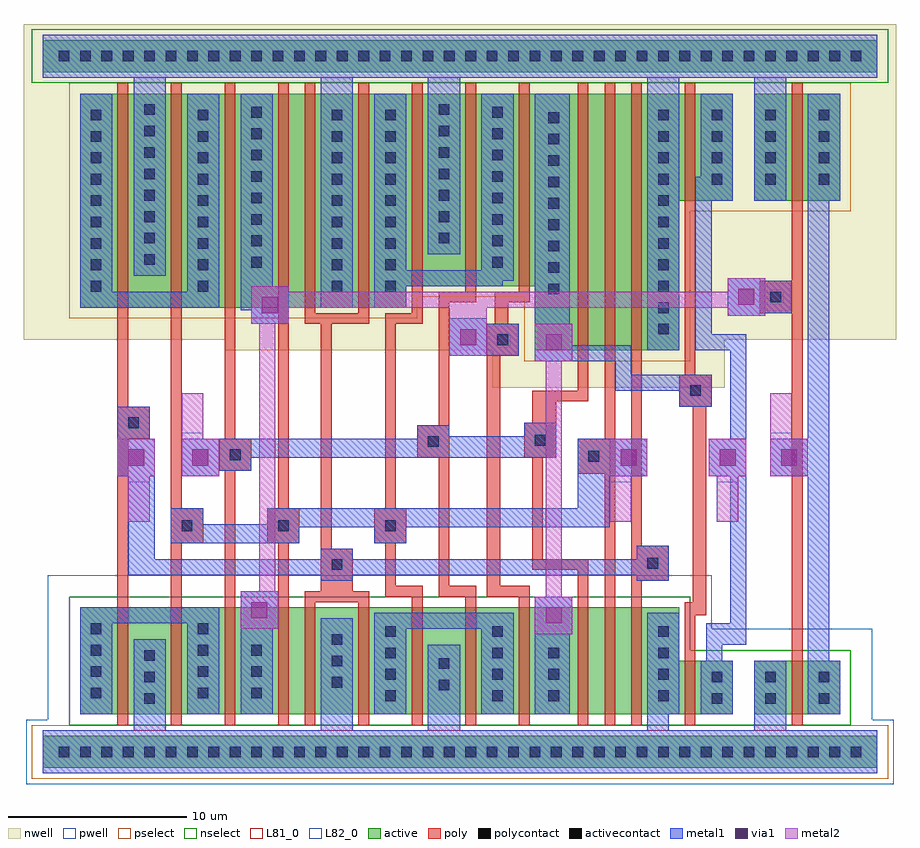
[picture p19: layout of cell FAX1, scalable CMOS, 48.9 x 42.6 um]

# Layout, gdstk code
import gdstk
lib = gdstk.Library(unit=1e-6, precision=1e-09)
def R(c, l, rs):  # rectangles x0, y0, x1, y1
    for r in rs: c.add(gdstk.rectangle(r[:2], r[2:], *l))
def A(c, l, x, y, w, h, nx, ny, dx, dy):  # array of equal rectangles
    R(c, l, [(x+i*dx, y+j*dy, x+i*dx+w, y+j*dy+h) for i in range(nx) for j in range(ny)])
pwell = (41, 0)
nwell = (42, 0)
active = (43, 0)
pselect = (44, 0)
nselect = (45, 0)
poly = (46, 0)
polycontact = (47, 0)
activecontact = (48, 0)
metal1 = (49, 0)
via1 = (50, 0)
metal2 = (51, 0)
L81_0 = (81, 0)
L82_0 = (82, 0)

fax1 = lib.new_cell('FAX1')
R(fax1, pwell, [(-1.8,-1.8,46.8,1.8), (-0.6,1.8,45.6,6.9), (-0.6,6.9,36.6,9.9)])
R(fax1, nwell, [(24.3,20.4,37.35,22.5), (9.3,22.5,37.35,23.1), (-1.95,23.1,46.95,40.8)])
R(fax1, active, [(-0.9,-0.9,45.9,0.9), (1.2,2.1,37.8,5.1), (39,2.1,43.8,5.1), (1.2,5.1,34.8,8.1), (26.7,22.5,34.8,26.1), (1.2,24.9,19.5,26.1), (1.2,26.1,34.8,30.9), (1.2,30.9,37.8,36.9), (39,30.9,43.8,36.9), (-0.9,38.1,45.9,39.9)])
R(fax1, pselect, [(-1.5,-1.5,46.5,1.5), (26.1,21.9,35.4,25.5), (0.6,24.3,20.1,25.5), (0.6,25.5,35.4,30.3), (0.6,30.3,44.4,37.5)])
R(fax1, nselect, [(0.6,1.5,44.4,5.7), (0.6,5.7,35.4,8.7), (-1.5,37.5,46.5,40.5)])
A(fax1, poly, 19.8, 1.5, 0.6, 7.2, 3, 1, 3, 0)
A(fax1, poly, 13.8, 24.6, 0.6, 12.9, 3, 1, 3, 0)
R(fax1, poly, [(3.3,1.5,3.9,17.55), (6.3,1.5,6.9,11.7), (9.3,1.5,9.9,15.75), (12.3,1.5,12.9,11.7), (13.8,1.5,14.4,8.4), (16.8,1.5,17.4,8.4), (29.1,1.5,29.7,10.2), (30.6,1.5,31.2,15.6), (32.1,1.5,32.7,9.6), (35.1,1.5,35.7,7.65), (41.1,1.5,41.7,24.6), (35.1,7.65,36.3,8.4), (13.8,8.4,17.4,9), (35.55,8.4,36.3,19.35), (18.3,8.7,20.4,9.3), (21.3,8.7,23.4,9.3), (24,8.7,26.4,9.3), (14.7,9,16.5,11.4), (18.3,9.3,18.9,11.7), (21.3,9.3,21.9,16.5), (24,9.3,24.75,22.2), (32.1,9.6,34.2,11.55), (26.55,10.2,29.7,10.8), (26.55,10.8,27.15,16.5), (14.7,11.4,15.3,24), (32.1,11.55,32.7,37.5), (6.3,11.7,8.1,13.65), (11.7,11.7,13.5,13.65), (17.7,11.7,19.5,13.65), (6.3,13.65,6.9,37.5), (12.3,13.65,12.9,37.5), (18.3,13.65,18.9,24), (29.1,15.6,31.2,17.55), (9,15.75,10.8,17.55), (20.1,16.5,21.9,18.3), (26.1,16.5,27.9,18.45), (3.3,17.55,5.1,19.35), (9.3,17.55,9.9,37.5), (30.6,17.55,31.2,37.5), (21.3,18.3,21.9,25.2), (26.55,18.45,27.9,19.65), (3.3,19.35,3.9,37.5), (34.8,19.35,36.6,21.15), (26.55,19.65,29.7,20.25), (29.1,20.25,29.7,37.5), (35.1,21.15,35.7,37.5), (24,22.2,25.8,24), (13.8,24,17.4,24.6), (18.3,24,20.4,24.6), (24.45,24,25.2,25.2), (39.3,24.6,41.7,26.4), (21.3,25.2,23.4,25.8), (24.45,25.2,26.4,25.8), (22.8,25.8,23.4,37.5), (25.8,25.8,26.4,37.5), (41.1,26.4,41.7,37.5)])
R(fax1, polycontact, [(15.3,10.2,15.9,10.8), (33,10.27,33.6,10.87), (6.9,12.37,7.5,12.97), (12.3,12.37,12.9,12.97), (18.3,12.37,18.9,12.97), (29.7,16.27,30.3,16.87), (9.6,16.35,10.2,16.95), (20.7,17.1,21.3,17.7), (26.7,17.17,27.3,17.77), (3.9,18.15,4.5,18.75), (35.4,19.95,36,20.55), (24.6,22.8,25.2,23.4), (39.9,25.2,40.5,25.8)])
A(fax1, activecontact, 0, -0.3, 0.6, 0.6, 38, 2, 1.2, 39)
A(fax1, activecontact, 4.8, 2.7, 0.6, 0.6, 1, 3, 0, 1.2)
A(fax1, activecontact, 36.6, 2.7, 0.6, 0.6, 3, 2, 3, 1.2)
A(fax1, activecontact, 18.3, 2.85, 0.6, 0.6, 1, 4, 0, 1.2)
A(fax1, activecontact, 24.3, 2.85, 0.6, 0.6, 1, 4, 0, 1.2)
A(fax1, activecontact, 27.45, 2.85, 0.6, 0.6, 1, 3, 0, 1.2)
A(fax1, activecontact, 33.6, 2.85, 0.6, 0.6, 1, 4, 0, 1.2)
A(fax1, activecontact, 1.8, 3, 0.6, 0.6, 1, 4, 0, 1.2)
A(fax1, activecontact, 7.8, 3, 0.6, 0.6, 1, 4, 0, 1.2)
A(fax1, activecontact, 10.8, 3, 0.6, 0.6, 1, 3, 0, 1.2)
A(fax1, activecontact, 15.3, 3.6, 0.6, 0.6, 1, 3, 0, 1.2)
A(fax1, activecontact, 33.6, 23.4, 0.6, 0.6, 1, 7, 0, 1.2)
A(fax1, activecontact, 27.45, 25.65, 0.6, 0.6, 1, 9, 0, 1.2)
A(fax1, activecontact, 1.8, 25.8, 0.6, 0.6, 1, 9, 0, 1.2)
A(fax1, activecontact, 7.8, 25.8, 0.6, 0.6, 1, 9, 0, 1.2)
A(fax1, activecontact, 15.3, 25.8, 0.6, 0.6, 1, 9, 0, 1.2)
A(fax1, activecontact, 18.3, 25.8, 0.6, 0.6, 1, 9, 0, 1.2)
A(fax1, activecontact, 10.8, 27.15, 0.6, 0.6, 1, 8, 0, 1.2)
A(fax1, activecontact, 24.3, 27.15, 0.6, 0.6, 1, 8, 0, 1.2)
A(fax1, activecontact, 4.8, 27.3, 0.6, 0.6, 1, 8, 0, 1.2)
A(fax1, activecontact, 21.3, 28.5, 0.6, 0.6, 1, 7, 0, 1.2)
A(fax1, activecontact, 33.6, 31.8, 0.6, 0.6, 4, 4, 3, 1.2)
R(fax1, activecontact, [(21.3,3.45,21.9,4.05), (21.3,4.65,21.9,5.25)])
R(fax1, metal1, [(-0.9,-1.2,45.9,1.2), (4.2,1.2,6,6.3), (14.7,1.2,16.5,7.5), (20.7,1.2,22.5,6), (33,1.2,34.2,2.1), (39,1.2,40.8,5.1), (1.2,2.1,3,7.2), (7.2,2.1,9,7.2), (10.2,2.1,12,6.9), (17.7,2.1,19.5,6.9), (23.7,2.1,25.5,6.9), (26.7,2.1,28.65,6.6), (33,2.1,34.8,7.8), (36,2.1,37.8,5.1), (42,2.1,43.8,5.1), (36.3,5.1,37.2,6), (42,5.1,43.2,15.45), (36.3,6,38.55,7.2), (26.7,6.6,28.8,8.7), (10.2,6.9,12.3,9), (17.7,6.9,25.5,7.8), (1.2,7.2,9,8.1), (37.65,7.2,38.55,15.45), (14.7,9.6,16.5,9.9), (32.4,9.6,34.2,9.9), (3.9,9.9,34.2,10.8), (3.9,10.8,5.4,15.45), (14.7,10.8,16.5,11.4), (32.4,10.8,34.2,11.55), (6.3,11.7,13.5,12.6), (17.7,11.7,19.5,12.6), (6.3,12.6,30.9,12.75), (6.3,12.75,8.1,13.65), (11.7,12.75,30.9,13.65), (29.1,13.65,30.9,15.45), (3.3,15.45,5.4,17.55), (6.9,15.45,9,15.75), (29.1,15.45,33,17.55), (36.45,15.45,38.55,17.55), (39.9,15.45,43.2,17.55), (6.9,15.75,10.8,16.5), (6.9,16.5,27.9,17.55), (3.3,17.55,5.1,19.35), (20.1,17.55,27.9,17.7), (37.65,17.55,38.55,22.5), (42,17.55,43.2,30.9), (20.1,17.7,21.9,18.3), (26.1,17.7,27.9,18.45), (34.8,19.35,36.6,20.25), (31.2,20.25,36.6,21.15), (31.2,21.15,32.1,21.9), (26.7,21.9,32.1,22.8), (21.9,22.2,25.8,24), (33,22.5,34.8,37.8), (35.7,22.5,38.55,23.4), (26.7,22.8,28.8,24), (35.7,23.4,36.6,30.9), (10.8,24,12.9,24.75), (21.9,24,24,24.3), (26.7,24,28.65,36.9), (37.5,24.45,39.6,24.6), (37.5,24.6,41.1,26.4), (10.2,24.75,12.9,26.1), (1.2,24.9,9,25.8), (14.7,24.9,16.5,37.8), (17.7,24.9,19.5,26.1), (1.2,25.8,3,36.9), (7.2,25.8,9,36.9), (10.2,26.1,12,36.9), (17.7,26.1,24.9,26.4), (17.7,26.4,25.5,27), (37.5,26.4,39.6,26.55), (4.2,26.7,6,37.8), (17.7,27,19.5,36.9), (23.7,27,25.5,36.9), (20.7,27.9,22.5,37.8), (35.7,30.9,37.8,32.25), (39,30.9,40.8,37.8), (42,30.9,43.8,36.9), (36,32.25,37.8,36.9), (-0.9,37.8,45.9,40.2)])
R(fax1, via1, [(27.3,7.2,28.2,8.1), (10.8,7.5,11.7,8.4), (3.9,16.05,4.8,16.95), (7.5,16.05,8.4,16.95), (31.5,16.05,32.4,16.95), (37.05,16.05,37.95,16.95), (40.5,16.05,41.4,16.95), (27.3,22.5,28.2,23.4), (22.5,22.8,23.4,23.7), (11.4,24.6,12.3,25.5), (38.1,25.05,39,25.95)])
R(fax1, metal2, [(26.7,6.6,28.8,8.7), (10.2,6.9,12.3,9), (27.3,8.7,28.2,21.9), (11.25,9,12.15,24), (3.9,12.9,5.1,15.45), (30.9,12.9,32.1,15.45), (36.9,12.9,38.1,15.45), (3.3,15.45,5.4,17.55), (6.9,15.45,9,17.55), (30.9,15.45,33,17.55), (36.45,15.45,38.55,17.55), (39.9,15.45,42,17.55), (6.9,17.55,8.1,20.1), (39.9,17.55,41.1,20.1), (26.7,21.9,28.8,24), (21.9,22.2,24,24.9), (10.8,24,12.9,24.9), (37.5,24.45,39.6,24.9), (10.8,24.9,39.6,25.8), (10.8,25.8,12.9,26.1), (37.5,25.8,39.6,26.55)])
R(fax1, L81_0, [(-0.9,-1.2,45.9,1.2), (-0.9,37.8,45.9,40.2)])
R(fax1, L82_0, [(3.9,12.9,5.1,15.15), (30.9,12.9,32.1,15.15), (36.9,12.9,38.1,15.15), (6.9,17.85,8.1,20.1), (39.9,17.85,41.1,20.1)])

lib.write_gds('FAX1.gds')
